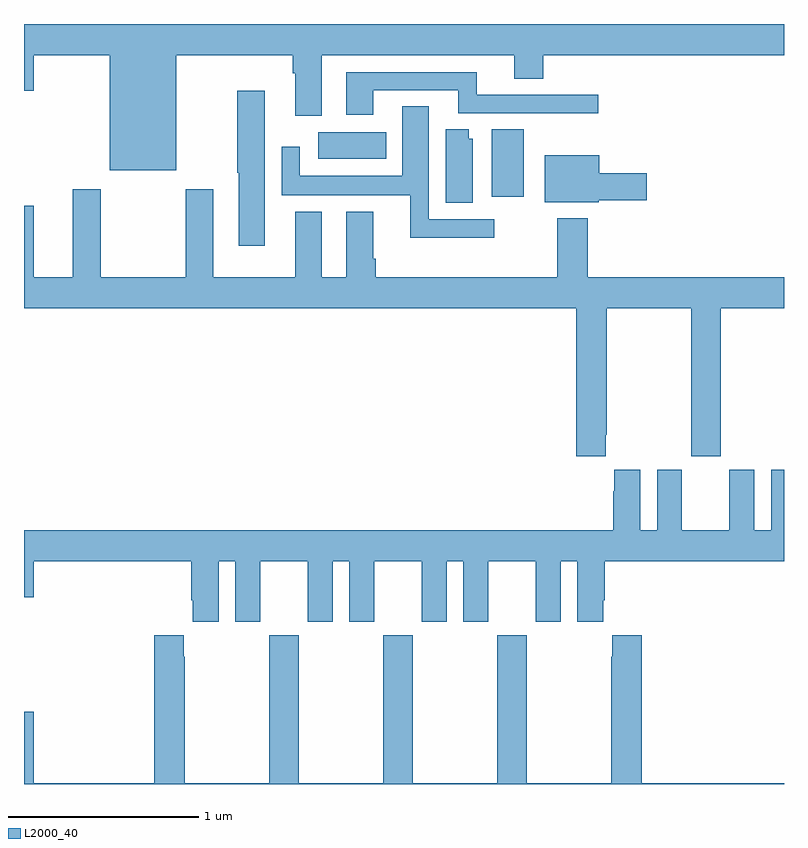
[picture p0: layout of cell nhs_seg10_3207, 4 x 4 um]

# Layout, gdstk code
import gdstk
lib = gdstk.Library(unit=1e-6, precision=1e-09)
def R(c, l, rs):  # rectangles x0, y0, x1, y1
    for r in rs: c.add(gdstk.rectangle(r[:2], r[2:], *l))
def P(c, l, *ps):  # polygons
    for p in ps: c.add(gdstk.Polygon(p, *l))
L2000_40 = (2000, 40)

nhs_seg10_3207 = lib.new_cell('nhs_seg10_3207')
R(nhs_seg10_3207, L2000_40, [(287.462,1279.59,287.629,1279.946), (286.548,1279.79,286.906,1279.93)])
P(nhs_seg10_3207, L2000_40, [(285.802,1280.336),(286.415,1280.336),(286.415,1280.24),(286.427,1280.24),(286.427,1280.016),(286.567,1280.016),(286.567,1280.336),(287.579,1280.336),(287.579,1280.212),(287.732,1280.212),(287.732,1280.336),(289,1280.336),(289,1280.5),(285,1280.5),(285,1280.148),(285.052,1280.148),(285.052,1280.336),(285.452,1280.336),(285.452,1279.73),(285.802,1279.73)],
  [(286.837,1280.151),(287.285,1280.151),(287.285,1280.031),(287.725,1280.031),(287.725,1280.029),(288.022,1280.029),(288.022,1280.127),(287.384,1280.127),(287.384,1280.247),(286.697,1280.247),(286.697,1280.022),(286.837,1280.022)],
  [(286.267,1280.149),(286.123,1280.149),(286.123,1279.717),(286.13,1279.717),(286.13,1279.332),(286.267,1279.332)],
  [(287.476,1279.473),(287.131,1279.473),(287.131,1280.066),(286.991,1280.066),(286.991,1279.702),(286.452,1279.702),(286.452,1279.855),(286.356,1279.855),(286.356,1279.598),(287.033,1279.598),(287.033,1279.376),(287.476,1279.376)],
  [(287.362,1279.896),(287.341,1279.896),(287.341,1279.946),(287.219,1279.946),(287.219,1279.558),(287.362,1279.558)],
  [(288.024,1279.573),(288.277,1279.573),(288.277,1279.715),(288.028,1279.715),(288.028,1279.81),(287.741,1279.81),(287.741,1279.562),(288.024,1279.562)],
  [(288.061,1278.337),(288.066,1278.337),(288.066,1279.004),(288.511,1279.004),(288.511,1278.225),(288.666,1278.225),(288.666,1279.004),(289,1279.004),(289,1279.168),(287.966,1279.168),(287.966,1279.477),(287.806,1279.477),(287.806,1279.168),(286.85,1279.168),(286.85,1279.264),(286.837,1279.264),(286.837,1279.513),(286.697,1279.513),(286.697,1279.168),(286.567,1279.168),(286.567,1279.513),(286.427,1279.513),(286.427,1279.168),(285.997,1279.168),(285.997,1279.63),(285.85,1279.63),(285.85,1279.168),(285.405,1279.168),(285.405,1279.63),(285.257,1279.63),(285.257,1279.168),(285.052,1279.168),(285.052,1279.543),(285,1279.543),(285,1279.004),(287.906,1279.004),(287.906,1278.225),(288.061,1278.225)],
  [(286.024,1277.672),(286.112,1277.672),(286.112,1277.355),(286.243,1277.355),(286.243,1277.672),(286.493,1277.672),(286.493,1277.355),(286.624,1277.355),(286.624,1277.672),(286.712,1277.672),(286.712,1277.355),(286.843,1277.355),(286.843,1277.672),(287.093,1277.672),(287.093,1277.355),(287.224,1277.355),(287.224,1277.672),(287.312,1277.672),(287.312,1277.355),(287.443,1277.355),(287.443,1277.672),(287.693,1277.672),(287.693,1277.355),(287.824,1277.355),(287.824,1277.672),(287.912,1277.672),(287.912,1277.355),(288.049,1277.355),(288.049,1277.467),(288.056,1277.467),(288.056,1277.672),(289,1277.672),(289,1278.154),(288.932,1278.154),(288.932,1277.836),(288.844,1277.836),(288.844,1278.154),(288.713,1278.154),(288.713,1277.836),(288.463,1277.836),(288.463,1278.154),(288.332,1278.154),(288.332,1277.836),(288.244,1277.836),(288.244,1278.154),(288.107,1278.154),(288.107,1278.041),(288.101,1278.041),(288.101,1277.836),(285,1277.836),(285,1277.484),(285.052,1277.484),(285.052,1277.672),(285.881,1277.672),(285.881,1277.467),(285.887,1277.467),(285.887,1277.355),(286.024,1277.355)],
  [(289,1276.504),(288.251,1276.504),(288.251,1277.284),(288.095,1277.284),(288.095,1277.171),(288.091,1277.171),(288.091,1276.504),(287.646,1276.504),(287.646,1277.284),(287.491,1277.284),(287.491,1276.504),(287.046,1276.504),(287.046,1277.284),(286.891,1277.284),(286.891,1276.504),(286.446,1276.504),(286.446,1277.284),(286.291,1277.284),(286.291,1276.504),(285.846,1276.504),(285.846,1277.171),(285.841,1277.171),(285.841,1277.284),(285.686,1277.284),(285.686,1276.504),(285.052,1276.504),(285.052,1276.879),(285,1276.879),(285,1276.5),(289,1276.5)])

lib.write_gds('nhs_seg10_3207.gds')
